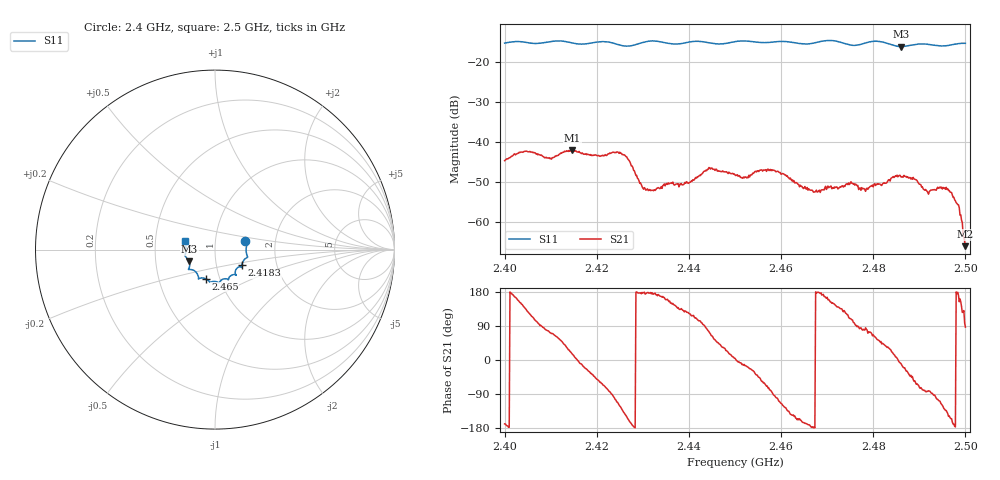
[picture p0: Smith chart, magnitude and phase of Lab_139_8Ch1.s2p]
# Hz S RI R 50
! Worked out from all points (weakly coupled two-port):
!   601 points, 2.4 GHz to 2.5 GHz, reference 50 ohm
!   highest |S21| = -42.00 dB at 2.4147 GHz (marker M1); lowest = -66.0 dB at 2.5 GHz (marker M2)
!   lowest |S11| = -16.0 dB at 2.486 GHz (marker M3), VSWR 1.38, Z = 37.1 - j4.98 ohm
!   |S11| at or under -10 dB: start of sweep to end of sweep
!   S12 and S22 are empty: the file has one direction only
!   S11 on the Smith chart (normalised r, x): 2.4 GHz: 1.40, +0.13; 2.4183 GHz: 1.33, -0.24; 2.465 GHz: 0.86, -0.29; 2.5 GHz: 0.71, +0.07
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2.4e9  0.1687 0.0459  -0.00576 -0.00117  0 0  0 0
2.404333e9  0.1778 0.0246  -0.0057 0.00518  0 0  0 0
2.409667e9  0.1781 -0.0327  0.0017 0.00617  0 0  0 0
2.414667e9  0.1683 -0.0504  0.00763 0.00221  0 0  0 0
2.416667e9  0.1553 -0.0685  0.00709 -0.00132  0 0  0 0
2.418333e9  0.1499 -0.0872  0.00603 -0.00353  0 0  0 0
2.4255e9  0.1297 -0.0981  -0.00459 -0.00529  0 0  0 0
2.430167e9  0.1144 -0.1379  -0.00258 9.19e-05  0 0  0 0
2.433333e9  0.1169 -0.1414  -0.00268 0.000342  0 0  0 0
2.440167e9  0.0754 -0.1642  -0.00166 0.00268  0 0  0 0
2.4445e9  0.0653 -0.1634  0.00153 0.00455  0 0  0 0
2.45e9  0.0253 -0.1807  0.00389 0.000312  0 0  0 0
2.458167e9  -0.019 -0.1791  0.000123 -0.00443  0 0  0 0
2.465e9  -0.0527 -0.1621  -0.00259 -0.000667  0 0  0 0
2.466667e9  -0.0713 -0.1576  -0.00251 -9.51e-05  0 0  0 0
2.478333e9  -0.1363 -0.1109  0.000214 0.00242  0 0  0 0
2.483333e9  -0.1423 -0.0959  0.00288 0.00178  0 0  0 0
2.486e9  -0.1439 -0.0653  0.00364 -0.000594  0 0  0 0
2.491667e9  -0.1667 -0.0299  0.000327 -0.00241  0 0  0 0
2.496667e9  -0.1632 0.0238  -0.0021 -0.00111  0 0  0 0
2.498667e9  -0.1676 0.0404  -0.00136 0.000672  0 0  0 0
2.5e9  -0.1671 0.0471  2.94e-05 0.000498  0 0  0 0
